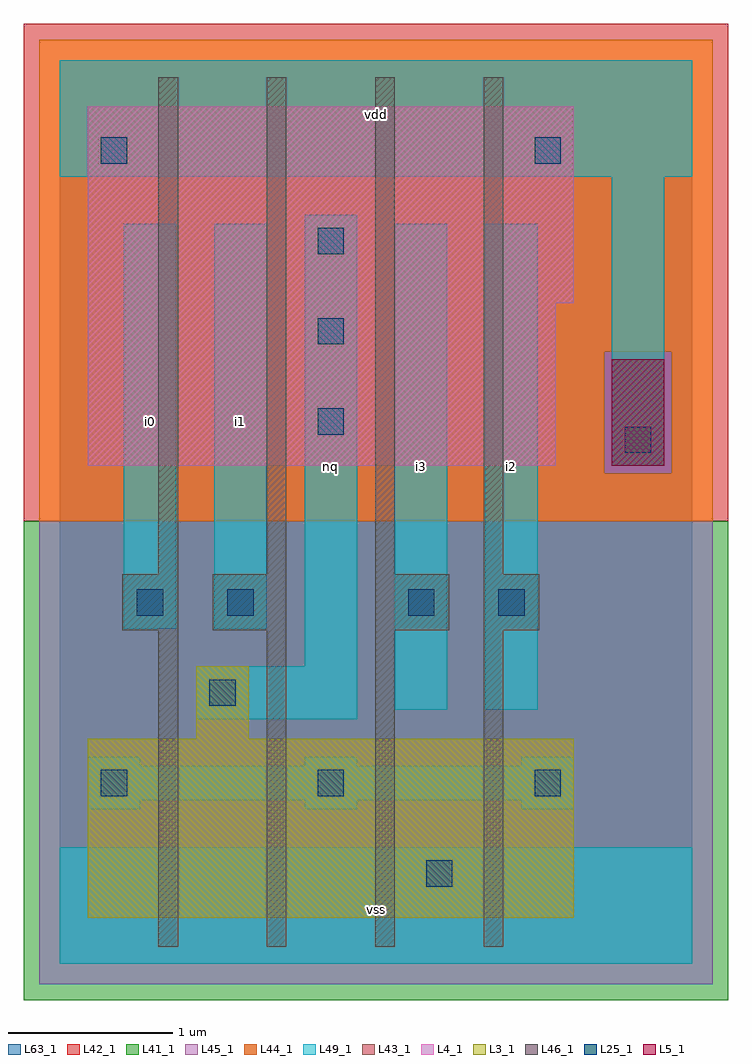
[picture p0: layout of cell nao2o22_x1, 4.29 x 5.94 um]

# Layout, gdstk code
import gdstk
lib = gdstk.Library(unit=1e-6, precision=1e-09)
def R(c, l, rs):  # rectangles x0, y0, x1, y1
    for r in rs: c.add(gdstk.rectangle(r[:2], r[2:], *l))
def A(c, l, x, y, w, h, nx, ny, dx, dy):  # array of equal rectangles
    R(c, l, [(x+i*dx, y+j*dy, x+i*dx+w, y+j*dy+h) for i in range(nx) for j in range(ny)])
L3_1 = (3, 1)
L4_1 = (4, 1)
L5_1 = (5, 1)
L25_1 = (25, 1)
L41_1 = (41, 1)
L42_1 = (42, 1)
L43_1 = (43, 1)
L44_1 = (44, 1)
L45_1 = (45, 1)
L46_1 = (46, 1)
L49_1 = (49, 1)
L63_1 = (63, 1)

nao2o22_x1 = lib.new_cell('nao2o22_x1')
R(nao2o22_x1, L3_1, [(0.17,0.28,3.13,1.37), (0.83,1.37,1.15,1.81)])
R(nao2o22_x1, L4_1, [(0.17,3.03,3.02,4.02), (0.17,4.02,3.13,5.22)])
R(nao2o22_x1, L5_1, [(3.36,3.03,3.68,3.68)])
A(nao2o22_x1, L25_1, 0.25, 1.02, 0.16, 0.16, 3, 1, 1.32, 0)
A(nao2o22_x1, L25_1, 1.57, 3.22, 0.16, 0.16, 1, 3, 0, 0.55)
R(nao2o22_x1, L25_1, [(2.23,0.47,2.39,0.63), (0.91,1.57,1.07,1.73), (0.47,2.12,0.63,2.28), (1.02,2.12,1.18,2.28), (2.12,2.12,2.28,2.28), (2.67,2.12,2.83,2.28), (3.44,3.11,3.6,3.27), (0.25,4.87,0.41,5.03), (2.89,4.87,3.05,5.03)])
R(nao2o22_x1, L41_1, [(-0.22,-0.22,4.07,2.695)])
R(nao2o22_x1, L42_1, [(-0.22,2.695,4.07,5.72)])
R(nao2o22_x1, L43_1, [(0.17,0.28,3.13,1.37), (0.83,1.37,1.15,1.81), (0.17,3.03,3.02,4.02), (3.36,3.03,3.68,3.68), (0.17,4.02,3.13,5.22)])
R(nao2o22_x1, L44_1, [(-0.125,2.695,3.975,2.985), (-0.125,2.985,3.315,3.725), (3.725,2.985,3.975,3.725), (-0.125,3.725,3.975,5.625)])
R(nao2o22_x1, L45_1, [(-0.125,-0.125,3.975,2.695), (3.315,2.985,3.725,3.725)])
A(nao2o22_x1, L46_1, 0.6, 0.105, 0.12, 1.925, 4, 1, 0.66, 0)
A(nao2o22_x1, L46_1, 0.6, 2.37, 0.12, 3.025, 4, 1, 0.66, 0)
R(nao2o22_x1, L46_1, [(0.38,2.03,0.72,2.37), (0.93,2.03,1.38,2.37), (1.92,2.03,2.37,2.37), (2.58,2.03,2.92,2.37)])
A(nao2o22_x1, L49_1, 0.17, 0.94, 0.32, 0.055, 3, 2, 1.32, 0.265)
R(nao2o22_x1, L49_1, [(0,0,3.85,0.71), (0.17,0.995,3.13,1.205), (0.83,1.49,1.81,1.81), (2.04,1.545,2.36,4.505), (2.59,1.545,2.91,4.505), (1.49,1.81,1.81,4.56), (0.39,2.04,0.71,4.505), (0.94,2.04,1.26,4.505), (3.36,3.03,3.68,4.79), (0,4.79,3.85,5.5)])
R(nao2o22_x1, L63_1, [(0,0,3.85,5.5)])
nao2o22_x1.add(gdstk.Label('i0', (0.55,3.3), layer=49, texttype=1))
nao2o22_x1.add(gdstk.Label('i0', (0.55,3.3), layer=49, texttype=1))
nao2o22_x1.add(gdstk.Label('nq', (1.65,3.025), layer=49, texttype=1))
nao2o22_x1.add(gdstk.Label('i1', (1.1,3.3), layer=49, texttype=1))
nao2o22_x1.add(gdstk.Label('nq', (1.65,3.025), layer=49, texttype=1))
nao2o22_x1.add(gdstk.Label('i1', (1.1,3.3), layer=49, texttype=1))
nao2o22_x1.add(gdstk.Label('vss', (1.925,0.33), layer=49, texttype=1))
nao2o22_x1.add(gdstk.Label('vss', (1.925,0.33), layer=49, texttype=1))
nao2o22_x1.add(gdstk.Label('i2', (2.75,3.025), layer=49, texttype=1))
nao2o22_x1.add(gdstk.Label('i3', (2.2,3.025), layer=49, texttype=1))
nao2o22_x1.add(gdstk.Label('i2', (2.75,3.025), layer=49, texttype=1))
nao2o22_x1.add(gdstk.Label('i3', (2.2,3.025), layer=49, texttype=1))
nao2o22_x1.add(gdstk.Label('vdd', (1.925,5.17), layer=49, texttype=1))
nao2o22_x1.add(gdstk.Label('vdd', (1.925,5.17), layer=49, texttype=1))

lib.write_gds('nao2o22_x1.gds')
